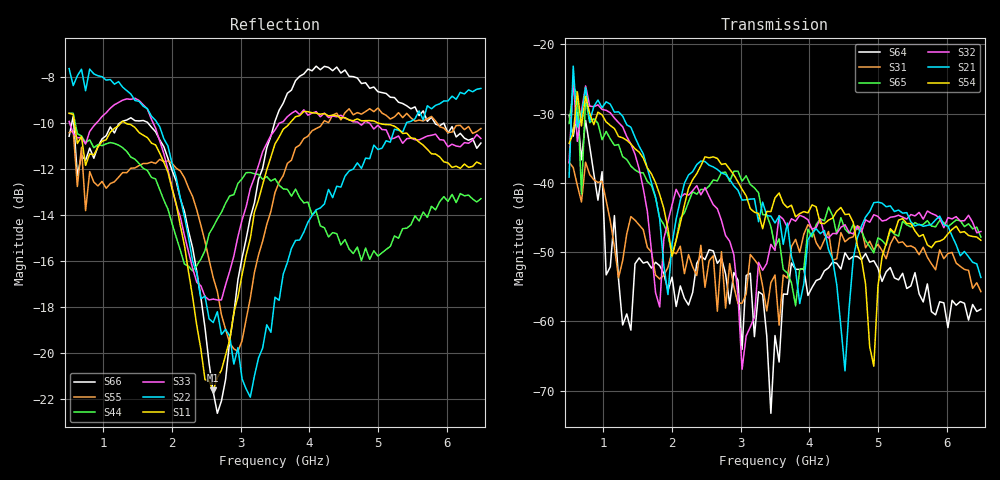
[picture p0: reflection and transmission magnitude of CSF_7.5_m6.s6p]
!Keysight Technologies,M9804A,MY58100912,A.14.10.03
!Date: Thursday, April 27, 2023 10:28:33
!Correction: S11(C  6-Port  )
!S12(C  6-Port  )
!S13(C  6-Port  )
!S14(C  6-Port  )
!S15(C  6-Port  )
!S16(C  6-Port  )
!S21(C  6-Port  )
!S22(C  6-Port  )
!S23(C  6-Port  )
!S24(C  6-Port  )
!S25(C  6-Port  )
!S26(C  6-Port  )
!S31(C  6-Port  )
!S32(C  6-Port  )
!S33(C  6-Port  )
!S34(C  6-Port  )
!S35(C  6-Port  )
!S36(C  6-Port  )
!S41(C  6-Port  )
!S42(C  6-Port  )
!S43(C  6-Port  )
!S44(C  6-Port  )
!S45(C  6-Port  )
!S46(C  6-Port  )
!S51(C  6-Port  )
!S52(C  6-Port  )
!S53(C  6-Port  )
!S54(C  6-Port  )
!S55(C  6-Port  )
!S56(C  6-Port  )
!S61(C  6-Port  )
!S62(C  6-Port  )
!S63(C  6-Port  )
!S64(C  6-Port  )
!S65(C  6-Port  )
!S66(C  6-Port  )
!S6P File: Measurement: :
# Hz S  RI  R 50
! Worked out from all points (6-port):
!   101 points, 500 MHz to 6.5 GHz, reference 50 ohm
!   strongest paths, dB at 500 MHz, 2 GHz, 3.5 GHz, 5 GHz, 6.5 GHz:
!     S54: -34.3, -50.6, -42.2, -55.0, -48.3
!     S21: -39.2, -48.8, -45.8, -42.8, -53.7
!     S32: -37.1, -43.2, -49.8, -44.8, -47.0
!     S65: -31.4, -50.4, -49.3, -47.9, -47.8
!     S31: -37.0, -49.9, -53.3, -48.9, -55.7
!     S64: -30.3, -53.6, -62.1, -52.3, -58.3
!   lowest |S11| = -21.6 dB at 2.6 GHz (marker M1), VSWR 1.18, Z = 42.6 + j2.1 ohm
!   |S11| at or under -10 dB: 578.1 MHz to 1.254 GHz (675.9 MHz wide, 73.8 % of centre); 1.326 GHz to 3.715 GHz (2.389 GHz wide, 94.8 % of centre); 5.01 GHz to end of sweep
